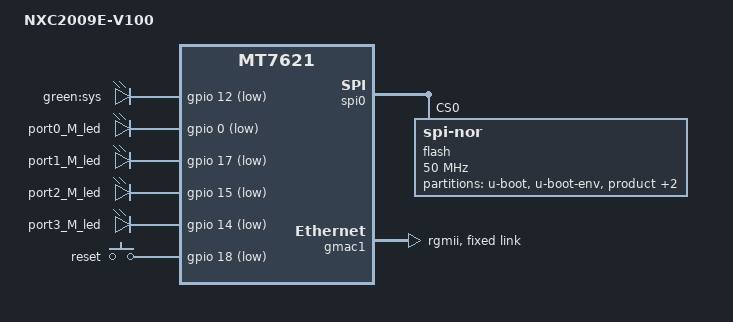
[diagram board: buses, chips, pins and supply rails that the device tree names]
/dts-v1/;

#include "mt7621.dtsi"

#include <dt-bindings/gpio/gpio.h>
#include <dt-bindings/input/input.h>

/ {
	compatible = "xwrt,nxc2009e-v100", "mediatek,mt7621-soc";
	model = "NXC2009E-V100";

	aliases {
		led-status = &led_sys;
		label-mac-device = &gmac0;
	};

	chosen {
		bootargs = "console=ttyS0,115200";
	};

	leds {
		compatible = "gpio-leds";

		led_sys: sys {
			label = "green:sys";
			gpios = <&gpio 12 GPIO_ACTIVE_LOW>;
			default-state = "on";
		};

		port0_M_led {
			label = "port0_M_led";
			gpios = <&gpio 0 GPIO_ACTIVE_LOW>;
			default-state = "off";
		};

		port1_M_led {
			label = "port1_M_led";
			gpios = <&gpio 17 GPIO_ACTIVE_LOW>;
			default-state = "off";
		};

		port2_M_led {
			label = "port2_M_led";
			gpios = <&gpio 15 GPIO_ACTIVE_LOW>;
			default-state = "off";
		};

		port3_M_led {
			label = "port3_M_led";
			gpios = <&gpio 14 GPIO_ACTIVE_LOW>;
			default-state = "off";
		};
	};

	keys {
		compatible = "gpio-keys";

		reset {
			label = "reset";
			gpios = <&gpio 18 GPIO_ACTIVE_LOW>;
			linux,code = <KEY_RESTART>;
		};
	};
};

&sdhci {
	status = "disabled";
};

&spi0 {
	status = "okay";

	flash@0 {
		compatible = "jedec,spi-nor";
		reg = <0>;
		spi-max-frequency = <50000000>;

		partitions {
			compatible = "fixed-partitions";
			#address-cells = <1>;
			#size-cells = <1>;

			partition@0 {
				label = "u-boot";
				reg = <0x0 0x30000>;
			};

			partition@30000 {
				label = "u-boot-env";
				reg = <0x30000 0x10000>;
			};

			partition@40000 {
				label = "product";
				reg = <0x40000 0x10000>;
			};

			factory: partition@50000 {
				label = "factory";
				reg = <0x50000 0x40000>;
			};

			partition@90000 {
				compatible = "denx,uimage";
				label = "firmware";
				reg = <0x90000 0xf70000>;
			};
		};
	};
};

&ethernet {
	pinctrl-0 = <&rgmii1_pins &rgmii2_pins &mdio_pins>;
};

&gmac1 {
	status = "okay";
	phy-mode = "rgmii";
	label = "eth5";
	nvmem-cells = <&macaddr_factory_22>;
	nvmem-cell-names = "mac-address";
	mac-address-increment = <5>;

	fixed-link {
		speed = <1000>;
		full-duplex;
	};
};

&gmac0 {
	nvmem-cells = <&macaddr_factory_22>;
	nvmem-cell-names = "mac-address";
	label = "dsa";
};

&switch0 {
	ports {
		port@0 {
			status = "okay";
			label = "eth4";
			nvmem-cells = <&macaddr_factory_22>;
			nvmem-cell-names = "mac-address";
			mac-address-increment = <4>;
		};

		port@1 {
			status = "okay";
			label = "eth3";
			nvmem-cells = <&macaddr_factory_22>;
			nvmem-cell-names = "mac-address";
			mac-address-increment = <3>;
		};

		port@2 {
			status = "okay";
			label = "eth2";
			nvmem-cells = <&macaddr_factory_22>;
			nvmem-cell-names = "mac-address";
			mac-address-increment = <2>;
		};

		port@3 {
			status = "okay";
			label = "eth1";
			nvmem-cells = <&macaddr_factory_22>;
			nvmem-cell-names = "mac-address";
			mac-address-increment = <1>;
		};

		port@4 {
			status = "okay";
			label = "eth0";
		};
	};
};

&pinctrl {
	state_default: pinctrl0 {
		gpio {
			groups = "wdt", "jtag";
			function = "gpio";
		};
	};
};

&factory {
	compatible = "nvmem-cells";
	#address-cells = <1>;
	#size-cells = <1>;

	macaddr_factory_22: macaddr@22 {
		reg = <0x22 0x6>;
	};
};
